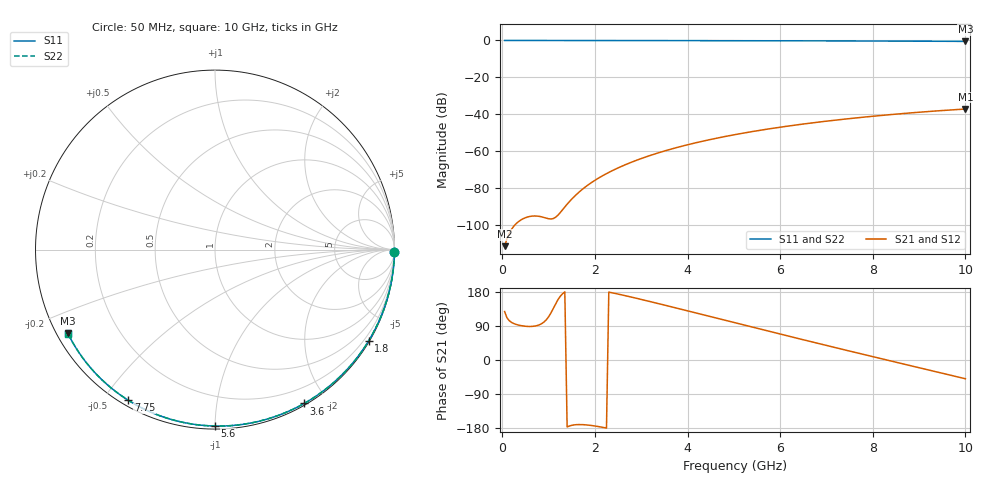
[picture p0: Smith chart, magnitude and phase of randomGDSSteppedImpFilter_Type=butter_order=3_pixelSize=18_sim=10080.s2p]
! freq	dB(S11)	phase(S11)	dB(S12)	phase(S12)
!  dB(S21)	phase(S21)	dB(S22)	phase(S22)
!S-par simulation data
#  GHz  S  DB  R 50
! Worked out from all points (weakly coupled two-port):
!   200 points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, 50 MHz to 10 GHz, reference 50 ohm
!   highest |S21| = -37.21 dB at 10 GHz (marker M1); lowest = -111.6 dB at 50 MHz (marker M2)
!   lowest |S11| = -0.5 dB at 10 GHz (marker M3), VSWR 34.32, Z = 1.56 - j13.2 ohm
!   |S11| at or under -10 dB: nowhere
!   |S22| runs from -0.5 to 0.0 dB; largest |S21 - S12| = 0
!   S11 on the Smith chart (normalised r, x): 50 MHz: open; 1.8 GHz: 0.03, -3.64; 3.6 GHz: 0.02, -1.73; 5.6 GHz: 0.02, -1.00; 7.75 GHz: 0.02, -0.58; 10 GHz: 0.03, -0.26
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0.05  -0.00 -0.9  -111.60 127.9  -111.60 127.9  -0.00 -0.9
0.45  -0.01 -7.8  -96.71 89.7  -96.71 89.7  -0.01 -7.8
0.9  -0.02 -15.5  -96.03 100.1  -96.03 100.1  -0.02 -15.5
1.3  -0.03 -22.3  -91.87 174.7  -91.87 174.7  -0.03 -22.3
1.75  -0.04 -29.9  -80.32 -170.7  -80.32 -170.7  -0.04 -29.9
1.8  -0.04 -30.7  -79.34 -171.1  -79.34 -171.1  -0.04 -30.7
1.95  -0.04 -33.2  -76.68 -173.2  -76.68 -173.2  -0.04 -33.2
2.1  -0.05 -35.7  -74.34 -176.1  -74.34 -176.1  -0.05 -35.7
2.3  -0.05 -39.0  -71.58 179.2  -71.58 179.2  -0.05 -39.0
2.5  -0.05 -42.3  -69.14 174.0  -69.14 174.0  -0.05 -42.3
2.9  -0.06 -48.8  -64.98 162.8  -64.98 162.8  -0.06 -48.8
3.4  -0.08 -56.8  -60.73 148.0  -60.73 148.0  -0.08 -56.8
3.6  -0.08 -59.9  -59.25 141.9  -59.25 141.9  -0.08 -59.9
4.3  -0.10 -70.7  -54.80 120.5  -54.80 120.5  -0.10 -70.7
5.05  -0.13 -82.0  -50.96 97.5  -50.96 97.5  -0.13 -82.0
5.6  -0.15 -90.0  -48.59 80.6  -48.59 80.6  -0.15 -90.0
6.15  -0.17 -97.8  -46.52 63.9  -46.52 63.9  -0.17 -97.8
6.7  -0.21 -105.6  -44.69 47.4  -44.69 47.4  -0.20 -105.5
7.75  -0.28 -119.9  -41.73 16.2  -41.73 16.2  -0.28 -119.9
8.35  -0.33 -128.0  -40.30 -1.4  -40.30 -1.4  -0.33 -128.0
9.2  -0.41 -139.5  -38.55 -26.2  -38.55 -26.2  -0.41 -139.5
10  -0.51 -150.3  -37.21 -49.5  -37.21 -49.5  -0.51 -150.3
